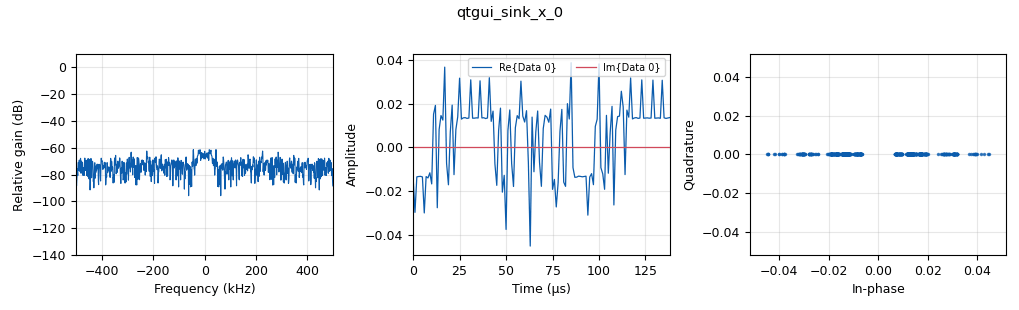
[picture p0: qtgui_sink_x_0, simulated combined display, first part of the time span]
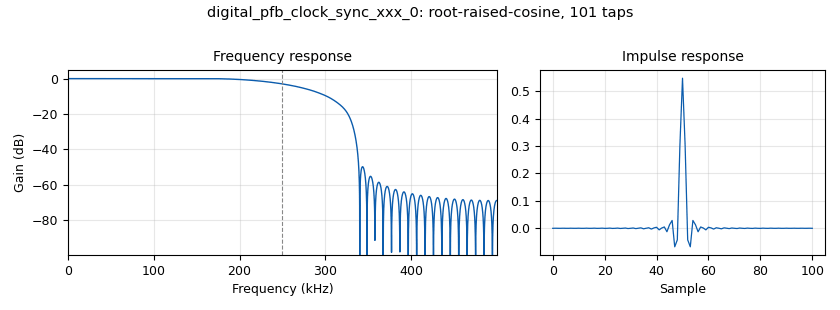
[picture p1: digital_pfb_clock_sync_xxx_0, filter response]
options:
  parameters:
    generate_options: qt_gui
    id: moddemod
    output_language: python
    title: Not titled yet
  states: {}

blocks:
- name: BPSK
  id: variable_constellation
  parameters:
    precision: '8'
    type: bpsk
  states: {}
- name: header
  id: variable
  parameters:
    value: digital.header_format_default(key,0)
  states: {}
- name: header
  id: variable_header_format_default
  parameters:
    access_code: '"11100001010110101110100010010011"'
    bps: '1'
    threshold: '0'
  states: {state: disabled}
- name: key
  id: variable
  parameters:
    value: '"111000010101101010101010101110100010010011"'
  states: {}
- name: samp_rate
  id: variable
  parameters:
    value: '1000000'
  states: {}
- name: taps
  id: variable
  parameters:
    value: firdes.root_raised_cosine(gain=1.0, sampling_freq=samp_rate, symbol_rate=500000 , alpha=0.35, ntaps=101)
  states: {}
- name: analog_agc_xx_0
  id: analog_agc_xx
  parameters:
    gain: '1.0'
    max_gain: '2'
    rate: '1e-4'
    reference: '1.0'
    type: complex
  states: {}
- name: blocks_file_sink_0
  id: blocks_file_sink
  parameters:
    file: /home/hilal/Documents/WSN_alea/tramerecue.bin
    type: byte
  states: {state: disabled}
- name: blocks_file_source_0
  id: blocks_file_source
  parameters:
    file: /home/hilal/Documents/WSN_projet/mac_frame.bin
    repeat: 'True'
    type: byte
  states: {state: disabled}
- name: blocks_repack_bits_bb_0
  id: blocks_repack_bits_bb
  parameters:
    endianness: gr.GR_MSB_FIRST
    k: '1'
    l: '8'
  states: {}
- name: blocks_stream_to_tagged_stream_0
  id: blocks_stream_to_tagged_stream
  parameters:
    len_tag_key: '"packet_len"'
    packet_len: '22'
    type: byte
  states: {}
- name: blocks_tagged_stream_mux_0
  id: blocks_tagged_stream_mux
  parameters:
    lengthtagname: '"packet_len"'
    ninputs: '2'
    type: byte
  states: {}
- name: blocks_throttle2_0
  id: blocks_throttle2
  parameters:
    samples_per_second: samp_rate
    type: complex
  states: {}
- name: digital_constellation_decoder_cb_0
  id: digital_constellation_decoder_cb
  parameters:
    constellation: BPSK
  states: {}
- name: digital_constellation_modulator_0
  id: digital_constellation_modulator
  parameters:
    constellation: BPSK
    differential: 'True'
    excess_bw: '0.35'
    samples_per_symbol: '4'
  states: {}
- name: digital_correlate_access_code_xx_ts_0
  id: digital_correlate_access_code_xx_ts
  parameters:
    access_code: key
    tagname: '"packet_len"'
    threshold: '1'
    type: byte
  states: {}
- name: digital_costas_loop_cc_0
  id: digital_costas_loop_cc
  parameters:
    order: '2'
    w: '0.0628'
  states: {}
- name: digital_diff_decoder_bb_0
  id: digital_diff_decoder_bb
  parameters:
    coding: digital.DIFF_DIFFERENTIAL
    modulus: '2'
  states: {}
- name: digital_pfb_clock_sync_xxx_0
  id: digital_pfb_clock_sync_xxx
  parameters:
    filter_size: '32'
    init_phase: '16'
    loop_bw: '0.0628'
    max_dev: '1.5'
    osps: '1'
    sps: '4'
    taps: taps
    type: ccf
  states: {}
- name: digital_protocol_formatter_bb_0
  id: digital_protocol_formatter_bb
  parameters:
    format: header
    len_tag_key: '"packet_len"'
  states: {}
- name: epy_block_0
  id: epy_block
  parameters:
    _source_code: |
      """
      Embedded Python Block: Random MAC Frame Generator

      Ce bloc génère des trames MAC avec des coordonnées (lat/lon/alt) aléatoires
      et ajoute le tag 'packet_len' nécessaire pour le traitement en aval.
      """

      import numpy as np
      import struct
      import zlib
      import random
      from gnuradio import gr
      import pmt # Importation essentielle pour les tags de paquets

      # Taille totale d'une trame générée (1 byte address + 4*4 bytes data + 1 byte padding + 4 bytes CRC)
      FRAME_LEN = 1 + 4 * 4 + 1 + 4 

      class blk(gr.sync_block):  # Utilisation de gr.sync_block (Source sans entrée)
          """Embedded Python Block pour générer des trames MAC aléatoires"""

          def __init__(self, address=0x2B, cow_id=2709, min_lat=48000000, max_lat=49000000, min_lon=1500000, max_lon=2500000, min_alt=100, max_alt=200):
              """Arguments de la fonction qui apparaissent comme paramètres dans GRC"""
              gr.sync_block.__init__(
                  self,
                  name='Random MAC Frame Generator',  # Nom du bloc dans GRC
                  in_sig=None,
                  out_sig=[np.byte]  # Flux de sortie d'octets
              )
              
              # Initialisation des paramètres (avec les plages que nous avons définies)
              self.address = int(address)
              self.cow_id = int(cow_id)
              self.min_lat = int(min_lat)
              self.max_lat = int(max_lat)
              self.min_lon = int(min_lon)
              self.max_lon = int(max_lon)
              self.min_alt = int(min_alt)
              self.max_alt = int(max_alt)

              self.frame_len = FRAME_LEN

          def generate_random_frame(self):
              """Génère une seule trame MAC avec des coordonnées aléatoires et le CRC"""
              
              # 1. Générer des valeurs aléatoires
              latitude = random.randint(self.min_lat, self.max_lat)
              longitude = random.randint(self.min_lon, self.max_lon)
              altitude = random.randint(self.min_alt, self.max_alt)
              
              # 2. Créer le Payload (Header + Données)
              # Format: >BIIII (Big-endian: 1 byte + 4 * 4 bytes)
              payload_bytes = struct.pack(">BIIII", self.address, self.cow_id, latitude, longitude, altitude)
              
              # 3. Ajouter 1 octet de bourrage (padding)
              payload_bytes += b"\x00"
              
              # 4. Calculer le CRC-32 (sur tout sauf le CRC lui-même)
              # & 0xFFFFFFFF est pour assurer une valeur non signée de 32 bits
              crc = zlib.crc32(payload_bytes) & 0xFFFFFFFF
              
              # 5. Frame complète = payload + bourrage + CRC
              # Format pour le CRC: >I (Big-endian: 4 bytes)
              frame = payload_bytes + struct.pack(">I", crc)
              
              return frame

          def work(self, input_items, output_items):
              """Génère et émet une trame complète à chaque appel"""
              
              out = output_items[0]
              
              # Utilisez FRAME_LEN directement
              frame_len = FRAME_LEN
              
              # Verify output buffer has enough space
              if len(out) < frame_len:
                   return 0

              # Générer la trame
              frame_bytes = self.generate_random_frame()
              frame_np = np.frombuffer(frame_bytes, dtype=np.byte)

              # Copier la trame dans le buffer de sortie
              out[:frame_len] = frame_np

              # IMPORTANT : Ajout du tag de longueur de paquet
              # CORRECTED ORDER: Port, Offset, Key, Value
              self.add_item_tag(0, # Port de sortie 0
                                self.nitems_written(0), # Offset actuel
                                pmt.intern("packet_len"), # Clé du tag (Symbol PMT)
                                pmt.from_long(frame_len)) # Valeur du tag (Longueur de 22)
              
              # Retourner le nombre d'octets produits
              return frame_len
    address: '0x2B'
    cow_id: '2709'
    max_alt: '300'
    max_lat: '49000000'
    max_lon: '2500000'
    min_alt: '100'
    min_lat: '48000000'
    min_lon: '1500000'
  states: {}
- name: epy_block_1
  id: epy_block
  parameters:
    _source_code: |
      import numpy as np
      from gnuradio import gr
      import struct
      import zlib

      class blk(gr.sync_block):
          def __init__(self):
              gr.sync_block.__init__(
                  self,
                  name='MAC Decoder & Display',
                  in_sig=[np.uint8], # On reçoit des octets (char)
                  out_sig=None       # Pas de sortie vers un autre bloc
              )
              self.trame_size = 22
              self.buffer = bytearray()
              
              # Préparation de l'affichage (Console ou Fenêtre)
              print("\n" + "="*60)
              print(f"{'Trame':<8} | {'Addr':<6} | {'CowID':<8} | {'Lat':<10} | {'Long':<10} | {'Alt':<10} | {'CRC':<6}")
              print("-" * 60)

          def work(self, input_items, output_items):
              in_data = input_items[0]
              
              # Ajouter les nouvelles données au buffer
              self.buffer.extend(in_data.tobytes())

              # Tant qu'on a assez de données pour au moins une trame
              while len(self.buffer) >= self.trame_size:
                  trame = self.buffer[:self.trame_size]
                  self.buffer = self.buffer[self.trame_size:] # On vide ce qu'on a lu

                  try:
                      # Décodage identique à votre script
                      # Format: > (Big Endian) B(1) I(4) I(4) I(4) I(4) B(1) I(4)
                      # Note: Votre unpack original avait un espace "B I", ajusté ici en "BI"
                      res = struct.unpack(">BIIIIBI", trame)
                      address, cow_id, lat, lon, alt, padding, crc_rx = res

                      # Vérification CRC
                      crc_calc = zlib.crc32(trame[:-4]) & 0xFFFFFFFF
                      crc_ok = "OK" if crc_rx == crc_calc else "BAD"

                      # Affichage en temps réel dans le terminal de GNU Radio
                      print(f"RECUE    | {hex(address):<6} | {cow_id:<8} | {lat:<10} | {lon:<10} | {alt:<10} | {crc_ok:<6}")
                      
                  except Exception as e:
                      print(f"Erreur décodage: {e}")

              return len(in_data)
  states: {}
- name: qtgui_sink_x_0
  id: qtgui_sink_x
  parameters:
    bw: samp_rate
    fc: '0'
    fftsize: '1024'
    type: complex
  states: {}

connections:
- [analog_agc_xx_0, '0', digital_pfb_clock_sync_xxx_0, '0']
- [blocks_file_source_0, '0', blocks_stream_to_tagged_stream_0, '0']
- [blocks_repack_bits_bb_0, '0', blocks_file_sink_0, '0']
- [blocks_repack_bits_bb_0, '0', epy_block_1, '0']
- [blocks_stream_to_tagged_stream_0, '0', blocks_tagged_stream_mux_0, '1']
- [blocks_stream_to_tagged_stream_0, '0', digital_protocol_formatter_bb_0, '0']
- [blocks_tagged_stream_mux_0, '0', digital_constellation_modulator_0, '0']
- [blocks_throttle2_0, '0', analog_agc_xx_0, '0']
- [digital_constellation_decoder_cb_0, '0', digital_diff_decoder_bb_0, '0']
- [digital_constellation_modulator_0, '0', blocks_throttle2_0, '0']
- [digital_correlate_access_code_xx_ts_0, '0', blocks_repack_bits_bb_0, '0']
- [digital_costas_loop_cc_0, '0', digital_constellation_decoder_cb_0, '0']
- [digital_costas_loop_cc_0, '0', qtgui_sink_x_0, '0']
- [digital_diff_decoder_bb_0, '0', digital_correlate_access_code_xx_ts_0, '0']
- [digital_pfb_clock_sync_xxx_0, '0', digital_costas_loop_cc_0, '0']
- [digital_protocol_formatter_bb_0, '0', blocks_tagged_stream_mux_0, '0']
- [epy_block_0, '0', blocks_stream_to_tagged_stream_0, '0']

metadata:
  file_format: 1
  grc_version: 3.10.12.0
